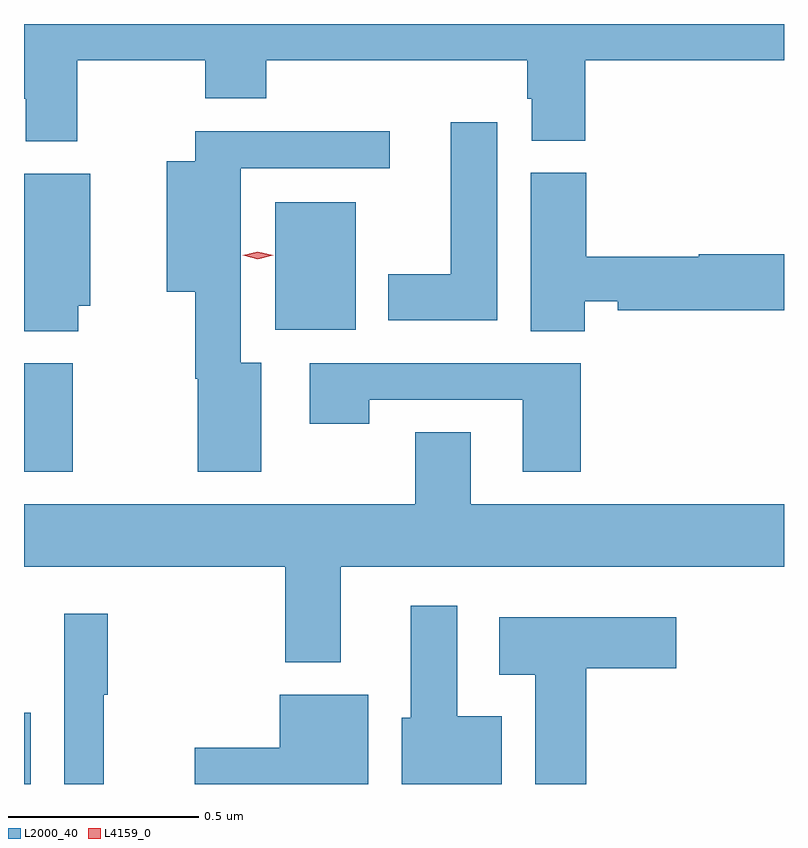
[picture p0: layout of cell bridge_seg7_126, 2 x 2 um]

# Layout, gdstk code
import gdstk
lib = gdstk.Library(unit=1e-6, precision=1e-09)
def R(c, l, rs):  # rectangles x0, y0, x1, y1
    for r in rs: c.add(gdstk.rectangle(r[:2], r[2:], *l))
def P(c, l, *ps):  # polygons
    for p in ps: c.add(gdstk.Polygon(p, *l))
L2000_40 = (2000, 40)
L4159_0 = (4159, 0)

bridge_seg7_126 = lib.new_cell('bridge_seg7_126')
R(bridge_seg7_126, L2000_40, [(670.843,1053.324,670.861,1053.511), (670.843,1054.146,670.971,1054.431), (671.504,1054.52,671.716,1054.855)])
P(bridge_seg7_126, L2000_40, [(670.843,1055.127),(670.847,1055.127),(670.847,1055.015),(670.983,1055.015),(670.983,1055.228),(671.32,1055.228),(671.32,1055.129),(671.48,1055.129),(671.48,1055.228),(672.167,1055.228),(672.167,1055.127),(672.179,1055.127),(672.179,1055.017),(672.32,1055.017),(672.32,1055.228),(672.843,1055.228),(672.843,1055.324),(670.843,1055.324)],
  [(672.088,1055.065),(671.966,1055.065),(671.966,1054.666),(671.801,1054.666),(671.801,1054.544),(672.088,1054.544)],
  [(671.467,1054.432),(671.413,1054.432),(671.413,1054.944),(671.806,1054.944),(671.806,1055.042),(671.293,1055.042),(671.293,1054.963),(671.219,1054.963),(671.219,1054.619),(671.293,1054.619),(671.293,1054.391),(671.3,1054.391),(671.3,1054.146),(671.467,1054.146)],
  [(672.318,1054.595),(672.406,1054.595),(672.406,1054.571),(672.843,1054.571),(672.843,1054.718),(672.618,1054.718),(672.618,1054.712),(672.323,1054.712),(672.323,1054.932),(672.176,1054.932),(672.176,1054.516),(672.318,1054.516)],
  [(670.986,1054.583),(671.017,1054.583),(671.017,1054.93),(670.844,1054.93),(670.844,1054.516),(670.986,1054.516)],
  [(672.308,1054.431),(671.595,1054.431),(671.595,1054.272),(671.751,1054.272),(671.751,1054.335),(672.155,1054.335),(672.155,1054.146),(672.308,1054.146)],
  [(671.677,1053.896),(672.843,1053.896),(672.843,1054.06),(672.019,1054.06),(672.019,1054.25),(671.872,1054.25),(671.872,1054.06),(670.843,1054.06),(670.843,1053.896),(671.53,1053.896),(671.53,1053.644),(671.677,1053.644)],
  [(672.1,1053.502),(671.983,1053.502),(671.983,1053.793),(671.861,1053.793),(671.861,1053.498),(671.837,1053.498),(671.837,1053.324),(672.1,1053.324)],
  [(671.053,1053.559),(671.063,1053.559),(671.063,1053.772),(670.949,1053.772),(670.949,1053.324),(671.053,1053.324)],
  [(672.323,1053.629),(672.559,1053.629),(672.559,1053.763),(672.093,1053.763),(672.093,1053.611),(672.188,1053.611),(672.188,1053.324),(672.323,1053.324)],
  [(671.749,1053.559),(671.516,1053.559),(671.516,1053.42),(671.292,1053.42),(671.292,1053.324),(671.749,1053.324)])
P(bridge_seg7_126, L4159_0, [(671.458,1054.705),(671.418,1054.715),(671.418,1054.716),(671.418,1054.716),(671.458,1054.725),(671.499,1054.715),(671.499,1054.715),(671.499,1054.715)])

lib.write_gds('bridge_seg7_126.gds')
